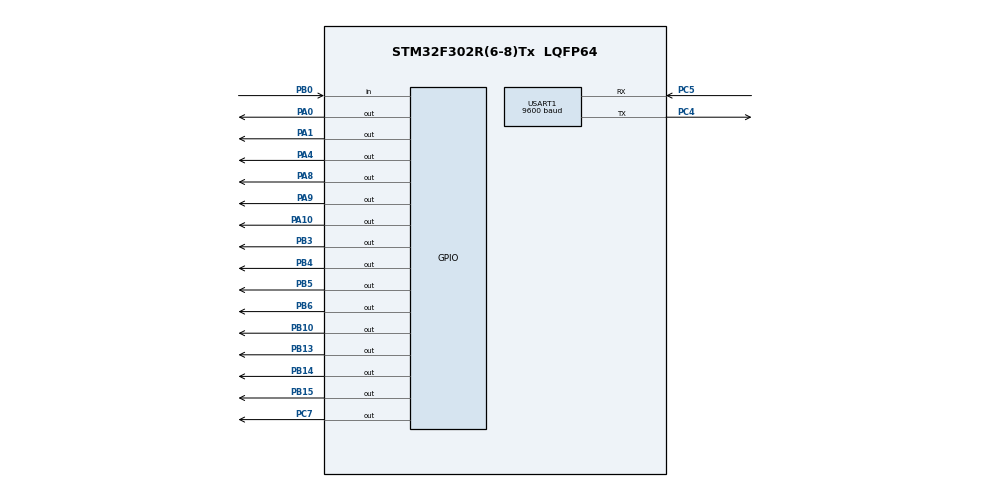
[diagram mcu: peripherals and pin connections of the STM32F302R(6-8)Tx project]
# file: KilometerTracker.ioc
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Dma.Request0=USART1_RX
Dma.Request1=USART1_TX
Dma.USART1_RX.0.Direction=DMA_PERIPH_TO_MEMORY
Dma.USART1_RX.0.Instance=DMA1_Channel5
Dma.USART1_RX.0.MemDataAlignment=DMA_MDATAALIGN_BYTE
Dma.USART1_RX.0.MemInc=DMA_MINC_ENABLE
Dma.USART1_RX.0.Mode=DMA_NORMAL
Dma.USART1_RX.0.PeriphDataAlignment=DMA_PDATAALIGN_BYTE
Dma.USART1_RX.0.PeriphInc=DMA_PINC_DISABLE
Dma.USART1_RX.0.Priority=DMA_PRIORITY_LOW
Dma.USART1_TX.1.Direction=DMA_MEMORY_TO_PERIPH
Dma.USART1_TX.1.Instance=DMA1_Channel4
Dma.USART1_TX.1.MemDataAlignment=DMA_MDATAALIGN_BYTE
Dma.USART1_TX.1.MemInc=DMA_MINC_ENABLE
Dma.USART1_TX.1.Mode=DMA_NORMAL
Dma.USART1_TX.1.PeriphDataAlignment=DMA_PDATAALIGN_BYTE
Dma.USART1_TX.1.PeriphInc=DMA_PINC_DISABLE
Dma.USART1_TX.1.Priority=DMA_PRIORITY_LOW
Mcu.Family=STM32F3
Mcu.Name=STM32F302R(6-8)Tx
Mcu.Package=LQFP64
NVIC.DMA1_Channel4_IRQn=true\:0\:0\:false\:false\:true\:false\:true\:true
NVIC.DMA1_Channel5_IRQn=true\:0\:0\:false\:false\:true\:false\:true\:true
NVIC.PriorityGroup=NVIC_PRIORITYGROUP_4
NVIC.USART1_IRQn=true\:0\:0\:false\:false\:true\:true\:true\:true
PA0.Signal=GPIO_Output
PA1.Signal=GPIO_Output
PA10.Signal=GPIO_Output
PA4.Signal=GPIO_Output
PA8.Signal=GPIO_Output
PA9.Signal=GPIO_Output
PB0.Signal=GPIO_Input
PB10.Signal=GPIO_Output
PB13.Signal=GPIO_Output
PB14.Signal=GPIO_Output
PB15.Signal=GPIO_Output
PB3.Signal=GPIO_Output
PB4.Signal=GPIO_Output
PB5.Signal=GPIO_Output
PB6.Signal=GPIO_Output
PC4.Mode=Asynchronous
PC4.Signal=USART1_TX
PC5.Mode=Asynchronous
PC5.Signal=USART1_RX
PC7.Signal=GPIO_Output
ProjectManager.HeapSize=0x200
ProjectManager.StackSize=0x400
ProjectManager.TargetToolchain=STM32CubeIDE
RCC.AHBFreq_Value=8000000
RCC.APB1Freq_Value=8000000
RCC.APB2Freq_Value=8000000
RCC.CortexFreq_Value=8000000
RCC.HSE_VALUE=8000000
RCC.HSI_VALUE=8000000
RCC.LSE_VALUE=32768
RCC.SYSCLKFreq_VALUE=8000000
USART1.BaudRate=9600
USART1.VirtualMode-Asynchronous=VM_ASYNC
board=custom

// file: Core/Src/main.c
/* USER CODE BEGIN Header */
/**
  ******************************************************************************
  * @file           : main.c
  * @brief          : Main program body
  ******************************************************************************
  * @attention
  *
  * Copyright (c) 2024 STMicroelectronics.
  * All rights reserved.
  *
  * This software is licensed under terms that can be found in the LICENSE file
  * in the root directory of this software component.
  * If no LICENSE file comes with this software, it is provided AS-IS.
  *
  ******************************************************************************
  */
/* USER CODE END Header */
#include "main.h"
#include "dma.h"
#include "usart.h"
#include "gpio.h"

/* USER CODE BEGIN Includes */
#include "../Drivers/RGB_led/RGB_led.h"
#include "../Drivers/display_7seg/display_7seg.h"
#include "../Drivers/button_module/button_module.h"
#include "../Drivers/OKY3552/OKY3552.h"
#include "../Drivers/GPS_data_handling/GPS_data_handling.h"
#include "string.h"
/* USER CODE END Includes */

/* USER CODE BEGIN PTD */
void proccesDmaData(uint8_t sign);
/* USER CODE END PTD */

/* USER CODE BEGIN PD */
#define ERROR_TRAVELED_DISTANCE_THRESHOLD_METERS	5000.0
#define GPS_2D_FIX									1
#define GPS_NO_FIX									0
/* USER CODE END PD */

/* USER CODE BEGIN PV */
struct USER current_user;
struct USER user_A;
struct USER user_B;
struct USER user_C;
uint8_t button_state = BUTTON_STATE_INACTIVE;
uint8_t message = 0;
uint16_t num = 0;
struct position current_position;
struct position last_position;
struct Coordinate current_coordinate;
struct Coordinate last_coordinate;
double traveled_distance = 0;
/* USER CODE END PV */

void SystemClock_Config(void);

/* USER CODE BEGIN 0 */
void next_user()
{
    if(current_user.ID == user_A.ID)
		current_user = user_B;
	else if(current_user.ID == user_B.ID)
		current_user = user_C;
	else if(current_user.ID == user_C.ID)
		current_user = user_A;
}

void save_user()
{
	if(current_user.ID == user_A.ID)
		user_A = current_user;
	else if(current_user.ID == user_B.ID)
		user_B = current_user;
	else if(current_user.ID == user_C.ID)
		user_C = current_user;
}

void setup_users()
{
	user_A.ID = 0;
	user_A.distance = 1234000.0;
	user_A.distance_km = user_A.distance * 0.001;
	user_A.red = 0;
	user_A.green = 1;
	user_A.blue = 1;

	user_B.ID = 1;
	user_B.distance = 0.0;
	user_B.distance_km = user_B.distance * 0.001;
	user_B.red = 1;
	user_B.green = 0;
	user_B.blue = 1;

	user_C.ID = 2;
	user_C.distance = 6969000.0;
	user_C.distance_km = user_C.distance * 0.001;
	user_C.red = 1;
	user_C.green = 1;
	user_C.blue = 0;

	current_user = user_A;
}
/* USER CODE END 0 */

int main(void)
{

  /* MCU Configuration--------------------------------------------------------*/

  /* Reset of all peripherals, Initializes the Flash interface and the Systick. */
  LL_APB2_GRP1_EnableClock(LL_APB2_GRP1_PERIPH_SYSCFG);
  LL_APB1_GRP1_EnableClock(LL_APB1_GRP1_PERIPH_PWR);

  /* System interrupt init*/
  NVIC_SetPriorityGrouping(NVIC_PRIORITYGROUP_4);

  /* SysTick_IRQn interrupt configuration */
  NVIC_SetPriority(SysTick_IRQn, NVIC_EncodePriority(NVIC_GetPriorityGrouping(),15, 0));

  /* Configure the system clock */
  SystemClock_Config();

  /* Initialize all configured peripherals */
  MX_GPIO_Init();
  MX_DMA_Init();
  MX_USART1_UART_Init();
  /* USER CODE BEGIN 2 */
  USART1_RegisterCallback(proccesDmaData);
  setup_users();
  /* USER CODE END 2 */

  /* Infinite loop */
  /* USER CODE BEGIN WHILE */
  while (1)
  {
    set_RGB_led(current_user.red,current_user.green,current_user.blue);
    button_state = readButton();
    if(button_state == BUTTON_STATE_PRESS)
    {
      next_user();
    }
    else if(button_state == BUTTON_STATE_LONG_PRESS)
    {
      current_user.distance = 0.0;
      current_user.distance_km = 0.0;
      save_user();
    }
    current_position = get_device_position();
	current_coordinate.latitude = current_position.LAT;
	current_coordinate.longitude = current_position.LON;

	last_coordinate.latitude = last_position.LAT;
	last_coordinate.longitude = last_position.LON;

	traveled_distance = haversineDistance(last_coordinate,current_coordinate);

	if(traveled_distance < ERROR_TRAVELED_DISTANCE_THRESHOLD_METERS &&
			current_position.fix != GPS_NO_FIX &&
			last_position.fix != GPS_NO_FIX)
	{
		current_user.distance += traveled_distance;
		current_user.distance_km = current_user.distance * 0.001;
		save_user();
	}

	handle_display((uint16_t)current_user.distance_km);
	last_position = current_position;
	LL_mDelay(2);
      /* USER CODE END WHILE */

    }
}

void SystemClock_Config(void)
{
  LL_FLASH_SetLatency(LL_FLASH_LATENCY_0);
  while(LL_FLASH_GetLatency()!= LL_FLASH_LATENCY_0)
  {
  }
  LL_RCC_HSI_Enable();

   /* Wait till HSI is ready */
  while(LL_RCC_HSI_IsReady() != 1)
  {

  }
  LL_RCC_HSI_SetCalibTrimming(16);
  LL_RCC_SetAHBPrescaler(LL_RCC_SYSCLK_DIV_1);
  LL_RCC_SetAPB1Prescaler(LL_RCC_APB1_DIV_1);
  LL_RCC_SetAPB2Prescaler(LL_RCC_APB2_DIV_1);
  LL_RCC_SetSysClkSource(LL_RCC_SYS_CLKSOURCE_HSI);

   /* Wait till System clock is ready */
  while(LL_RCC_GetSysClkSource() != LL_RCC_SYS_CLKSOURCE_STATUS_HSI)
  {

  }
  LL_Init1msTick(8000000);
  LL_SetSystemCoreClock(8000000);
  LL_RCC_SetUSARTClockSource(LL_RCC_USART1_CLKSOURCE_PCLK1);
}

/* USER CODE BEGIN 4 */
void proccesDmaData(uint8_t sign)
{
	parse_uart_character(sign);
}
/* USER CODE END 4 */

void Error_Handler(void)
{
  __disable_irq();
  while (1)
  {
  }
}
